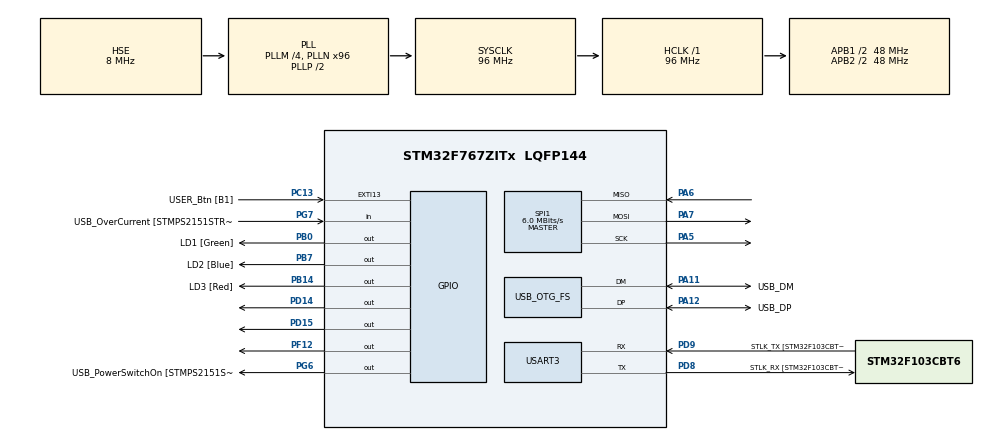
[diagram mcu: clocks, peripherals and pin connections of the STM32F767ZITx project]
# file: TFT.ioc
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Mcu.Family=STM32F7
Mcu.Name=STM32F767ZITx
Mcu.Package=LQFP144
NVIC.PriorityGroup=NVIC_PRIORITYGROUP_4
PA10.GPIO_Label=USB_ID
PA10.Signal=USB_OTG_FS_ID
PA11.GPIO_Label=USB_DM
PA11.Mode=Device_Only
PA11.Signal=USB_OTG_FS_DM
PA12.GPIO_Label=USB_DP
PA12.Mode=Device_Only
PA12.Signal=USB_OTG_FS_DP
PA13.GPIO_Label=TMS
PA13.Mode=Serial_Wire
PA13.Signal=SYS_JTMS-SWDIO
PA14.GPIO_Label=TCK
PA14.Mode=Serial_Wire
PA14.Signal=SYS_JTCK-SWCLK
PA5.Mode=Full_Duplex_Master
PA5.Signal=SPI1_SCK
PA6.Mode=Full_Duplex_Master
PA6.Signal=SPI1_MISO
PA7.Mode=Full_Duplex_Master
PA7.Signal=SPI1_MOSI
PA8.GPIO_Label=USB_SOF [TP1]
PA8.Signal=USB_OTG_FS_SOF
PA9.GPIO_Label=USB_VBUS
PA9.Signal=USB_OTG_FS_VBUS
PB0.GPIO_Label=LD1 [Green]
PB0.Signal=GPIO_Output
PB13.GPIO_Label=RMII_TXD1 [LAN8742A-CZ-TR_TXD1]
PB13.Signal=ETH_TXD1
PB14.GPIO_Label=LD3 [Red]
PB14.Signal=GPIO_Output
PB3.GPIO_Label=SWO
PB3.Signal=SYS_JTDO-SWO
PB7.GPIO_Label=LD2 [Blue]
PB7.Signal=GPIO_Output
PC13.GPIO_Label=USER_Btn [B1]
PC13.Signal=GPXTI13
PC14/OSC32_IN.Mode=LSE-External-Oscillator
PC14/OSC32_IN.Signal=RCC_OSC32_IN
PC15/OSC32_OUT.Mode=LSE-External-Oscillator
PC15/OSC32_OUT.Signal=RCC_OSC32_OUT
PD14.Signal=GPIO_Output
PD15.Signal=GPIO_Output
PD8.GPIO_Label=STLK_RX [STM32F103CBT6_PA3]
PD8.Mode=Asynchronous
PD8.Signal=USART3_TX
PD9.GPIO_Label=STLK_TX [STM32F103CBT6_PA2]
PD9.Mode=Asynchronous
PD9.Signal=USART3_RX
PF12.Signal=GPIO_Output
PG6.GPIO_Label=USB_PowerSwitchOn [STMPS2151STR_EN]
PG6.Signal=GPIO_Output
PG7.GPIO_Label=USB_OverCurrent [STMPS2151STR_FAULT]
PG7.Signal=GPIO_Input
PH0/OSC_IN.GPIO_Label=MCO [STM32F103CBT6_PA8]
PH0/OSC_IN.Mode=HSE-External-Clock-Source
PH0/OSC_IN.Signal=RCC_OSC_IN
PH1/OSC_OUT.Mode=HSE-External-Clock-Source
PH1/OSC_OUT.Signal=RCC_OSC_OUT
ProjectManager.HeapSize=0x200
ProjectManager.StackSize=0x400
ProjectManager.TargetToolchain=STM32CubeIDE
RCC.48MHZClocksFreq_Value=24000000
RCC.AHBFreq_Value=96000000
RCC.APB1CLKDivider=RCC_HCLK_DIV2
RCC.APB1Freq_Value=48000000
RCC.APB1TimFreq_Value=96000000
RCC.APB2CLKDivider=RCC_HCLK_DIV2
RCC.APB2Freq_Value=48000000
RCC.APB2TimFreq_Value=96000000
RCC.CortexFreq_Value=96000000
RCC.HCLKFreq_Value=96000000
RCC.HSE_VALUE=8000000
RCC.HSI_VALUE=16000000
RCC.PLLM=4
RCC.PLLMUL=RCC_PLL_MUL9
RCC.PLLN=96
RCC.PLLQ=4
RCC.PRESCALERUSB=RCC_USBCLKSOURCE_PLL_DIV1_5
RCC.SYSCLKFreq_VALUE=96000000
RCC.SYSCLKSource=RCC_SYSCLKSOURCE_PLLCLK
RCC.SYSCLKSourceVirtual=RCC_SYSCLKSOURCE_PLLCLK
RCC.USBFreq_Value=48000000
RCC.VCOOutputFreq_Value=192000000
SPI1.BaudRatePrescaler=SPI_BAUDRATEPRESCALER_8
SPI1.CalculateBaudRate=6.0 MBits/s
SPI1.DataSize=SPI_DATASIZE_8BIT
SPI1.Direction=SPI_DIRECTION_2LINES
SPI1.Mode=SPI_MODE_MASTER
SPI1.VirtualType=VM_MASTER
USART3.VirtualMode-Asynchronous=VM_ASYNC
USB_OTG_FS.VirtualMode=Device_Only
board=NUCLEO-F767ZI

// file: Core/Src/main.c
/* USER CODE BEGIN Header */
/**
  ******************************************************************************
  * @file           : main.c
  * @brief          : Main program body
  ******************************************************************************
  * @attention
  *
  * <h2><center>&copy; Copyright (c) 2020 STMicroelectronics.
  * All rights reserved.</center></h2>
  *
  * This software component is licensed by ST under BSD 3-Clause license,
  * the "License"; You may not use this file except in compliance with the
  * License. You may obtain a copy of the License at:
  *                        opensource.org/licenses/BSD-3-Clause
  *
  ******************************************************************************
  */
/* USER CODE END Header */
#include "main.h"

/* USER CODE BEGIN Includes */
#include <string.h>
#include <stdio.h>
#include <ili9341.h>
#include <stdarg.h>
/* USER CODE END Includes */

SPI_HandleTypeDef hspi1;

UART_HandleTypeDef huart3;

PCD_HandleTypeDef hpcd_USB_OTG_FS;

void SystemClock_Config(void);
static void MX_GPIO_Init(void);
static void MX_USART3_UART_Init(void);
static void MX_SPI1_Init(void);
static void MX_USB_OTG_FS_PCD_Init(void);

/* USER CODE BEGIN 0 */

void UART_Printf(const char* fmt, ...)
{
    char buff[256];
    va_list args;
    va_start(args, fmt);
    vsnprintf(buff, sizeof(buff), fmt, args);
    HAL_UART_Transmit(&huart3, (uint8_t*)buff, strlen(buff),
                      HAL_MAX_DELAY);
    va_end(args);
}

/* USER CODE END 0 */

int main(void)
{

  /* MCU Configuration--------------------------------------------------------*/

  /* Reset of all peripherals, Initializes the Flash interface and the Systick. */
  HAL_Init();

  /* Configure the system clock */
  SystemClock_Config();

  /* Initialize all configured peripherals */
  MX_GPIO_Init();
  MX_USART3_UART_Init();
  MX_SPI1_Init();
  MX_USB_OTG_FS_PCD_Init();

  /* Infinite loop */
  /* USER CODE BEGIN WHILE */

  ST7789_Init();

  //ILI9341_Unselect();
  //ILI9341_Init();

  /*
  UART_Printf("HAL_SPI_DeInit/Init\r\n");

  if(HAL_SPI_DeInit(&hspi1) != HAL_OK) {
      UART_Printf("HAL_SPI_DeInit failed!\r\n");
      return 0;
  }

  hspi1.Init.BaudRatePrescaler = SPI_BAUDRATEPRESCALER_4;

  if(HAL_SPI_Init(&hspi1) != HAL_OK) {
      UART_Printf("HAL_SPI_Init failed!\r\n");
      return 0;
  }
*/

  bool inv = true;
  ILI9341_InvertColors(inv);

  ILI9341_FillRectangle(0, 0, ILI9341_HEIGHT, ILI9341_WIDTH, ILI9341_GREEN );
//  ILI9341_WriteString(0, 0, "Freddy", Font_7x10, ILI9341_RED, ILI9341_BLACK);
//  ILI9341_WriteString(0, 3*10, "Fred2", Font_11x18, ILI9341_GREEN, ILI9341_BLACK);

  for(int x = 0; x < ILI9341_HEIGHT; x++)
  {
      ILI9341_DrawPixel(x, 0, ILI9341_RED);
      ILI9341_DrawPixel(x, ILI9341_WIDTH-1, ILI9341_RED);
  }

  ILI9341_WriteString(0, 3*10+3*18, "Ian Langley vB", Font_16x26, ILI9341_BLUE, ILI9341_BLACK);

  while (1)
  {
	  inv = !inv;
	  ILI9341_InvertColors(inv);
	  HAL_Delay(500);

    /* USER CODE END WHILE */

  }
}

void SystemClock_Config(void)
{
  RCC_OscInitTypeDef RCC_OscInitStruct = {0};
  RCC_ClkInitTypeDef RCC_ClkInitStruct = {0};
  RCC_PeriphCLKInitTypeDef PeriphClkInitStruct = {0};

  /** Configure LSE Drive Capability
  */
  HAL_PWR_EnableBkUpAccess();
  /** Configure the main internal regulator output voltage
  */
  __HAL_RCC_PWR_CLK_ENABLE();
  __HAL_PWR_VOLTAGESCALING_CONFIG(PWR_REGULATOR_VOLTAGE_SCALE3);
  /** Initializes the RCC Oscillators according to the specified parameters
  * in the RCC_OscInitTypeDef structure.
  */
  RCC_OscInitStruct.OscillatorType = RCC_OSCILLATORTYPE_HSE;
  RCC_OscInitStruct.HSEState = RCC_HSE_BYPASS;
  RCC_OscInitStruct.PLL.PLLState = RCC_PLL_ON;
  RCC_OscInitStruct.PLL.PLLSource = RCC_PLLSOURCE_HSE;
  RCC_OscInitStruct.PLL.PLLM = 4;
  RCC_OscInitStruct.PLL.PLLN = 96;
  RCC_OscInitStruct.PLL.PLLP = RCC_PLLP_DIV2;
  RCC_OscInitStruct.PLL.PLLQ = 4;
  if (HAL_RCC_OscConfig(&RCC_OscInitStruct) != HAL_OK)
  {
    Error_Handler();
  }
  /** Activate the Over-Drive mode
  */
  if (HAL_PWREx_EnableOverDrive() != HAL_OK)
  {
    Error_Handler();
  }
  /** Initializes the CPU, AHB and APB buses clocks
  */
  RCC_ClkInitStruct.ClockType = RCC_CLOCKTYPE_HCLK|RCC_CLOCKTYPE_SYSCLK
                              |RCC_CLOCKTYPE_PCLK1|RCC_CLOCKTYPE_PCLK2;
  RCC_ClkInitStruct.SYSCLKSource = RCC_SYSCLKSOURCE_PLLCLK;
  RCC_ClkInitStruct.AHBCLKDivider = RCC_SYSCLK_DIV1;
  RCC_ClkInitStruct.APB1CLKDivider = RCC_HCLK_DIV2;
  RCC_ClkInitStruct.APB2CLKDivider = RCC_HCLK_DIV2;

  if (HAL_RCC_ClockConfig(&RCC_ClkInitStruct, FLASH_LATENCY_3) != HAL_OK)
  {
    Error_Handler();
  }
  PeriphClkInitStruct.PeriphClockSelection = RCC_PERIPHCLK_USART3|RCC_PERIPHCLK_CLK48;
  PeriphClkInitStruct.Usart3ClockSelection = RCC_USART3CLKSOURCE_PCLK1;
  PeriphClkInitStruct.Clk48ClockSelection = RCC_CLK48SOURCE_PLL;
  if (HAL_RCCEx_PeriphCLKConfig(&PeriphClkInitStruct) != HAL_OK)
  {
    Error_Handler();
  }
}

static void MX_SPI1_Init(void)
{

  /* SPI1 parameter configuration*/
  hspi1.Instance = SPI1;
  hspi1.Init.Mode = SPI_MODE_MASTER;
  hspi1.Init.Direction = SPI_DIRECTION_2LINES;
  hspi1.Init.DataSize = SPI_DATASIZE_8BIT;
  hspi1.Init.CLKPolarity = SPI_POLARITY_LOW;
  hspi1.Init.CLKPhase = SPI_PHASE_1EDGE;
  hspi1.Init.NSS = SPI_NSS_SOFT;
  hspi1.Init.BaudRatePrescaler = SPI_BAUDRATEPRESCALER_8;
  hspi1.Init.FirstBit = SPI_FIRSTBIT_MSB;
  hspi1.Init.TIMode = SPI_TIMODE_DISABLE;
  hspi1.Init.CRCCalculation = SPI_CRCCALCULATION_DISABLE;
  hspi1.Init.CRCPolynomial = 7;
  hspi1.Init.CRCLength = SPI_CRC_LENGTH_DATASIZE;
  hspi1.Init.NSSPMode = SPI_NSS_PULSE_ENABLE;
  if (HAL_SPI_Init(&hspi1) != HAL_OK)
  {
    Error_Handler();
  }

}

static void MX_USART3_UART_Init(void)
{

  huart3.Instance = USART3;
  huart3.Init.BaudRate = 115200;
  huart3.Init.WordLength = UART_WORDLENGTH_8B;
  huart3.Init.StopBits = UART_STOPBITS_1;
  huart3.Init.Parity = UART_PARITY_NONE;
  huart3.Init.Mode = UART_MODE_TX_RX;
  huart3.Init.HwFlowCtl = UART_HWCONTROL_NONE;
  huart3.Init.OverSampling = UART_OVERSAMPLING_16;
  huart3.Init.OneBitSampling = UART_ONE_BIT_SAMPLE_DISABLE;
  huart3.AdvancedInit.AdvFeatureInit = UART_ADVFEATURE_NO_INIT;
  if (HAL_UART_Init(&huart3) != HAL_OK)
  {
    Error_Handler();
  }

}

static void MX_USB_OTG_FS_PCD_Init(void)
{

  hpcd_USB_OTG_FS.Instance = USB_OTG_FS;
  hpcd_USB_OTG_FS.Init.dev_endpoints = 6;
  hpcd_USB_OTG_FS.Init.speed = PCD_SPEED_FULL;
  hpcd_USB_OTG_FS.Init.dma_enable = DISABLE;
  hpcd_USB_OTG_FS.Init.phy_itface = PCD_PHY_EMBEDDED;
  hpcd_USB_OTG_FS.Init.Sof_enable = DISABLE;
  hpcd_USB_OTG_FS.Init.low_power_enable = DISABLE;
  hpcd_USB_OTG_FS.Init.lpm_enable = DISABLE;
  hpcd_USB_OTG_FS.Init.vbus_sensing_enable = DISABLE;
  hpcd_USB_OTG_FS.Init.use_dedicated_ep1 = DISABLE;
  if (HAL_PCD_Init(&hpcd_USB_OTG_FS) != HAL_OK)
  {
    Error_Handler();
  }

}

static void MX_GPIO_Init(void)
{
  GPIO_InitTypeDef GPIO_InitStruct = {0};

  /* GPIO Ports Clock Enable */
  __HAL_RCC_GPIOC_CLK_ENABLE();
  __HAL_RCC_GPIOH_CLK_ENABLE();
  __HAL_RCC_GPIOA_CLK_ENABLE();
  __HAL_RCC_GPIOB_CLK_ENABLE();
  __HAL_RCC_GPIOF_CLK_ENABLE();
  __HAL_RCC_GPIOD_CLK_ENABLE();
  __HAL_RCC_GPIOG_CLK_ENABLE();

  /*Configure GPIO pin Output Level */
  HAL_GPIO_WritePin(GPIOB, LD1_Pin|LD3_Pin|LD2_Pin, GPIO_PIN_RESET);

  /*Configure GPIO pin Output Level */
  HAL_GPIO_WritePin(GPIOF, GPIO_PIN_12, GPIO_PIN_RESET);

  /*Configure GPIO pin Output Level */
  HAL_GPIO_WritePin(GPIOD, GPIO_PIN_14|GPIO_PIN_15, GPIO_PIN_RESET);

  /*Configure GPIO pin Output Level */
  HAL_GPIO_WritePin(USB_PowerSwitchOn_GPIO_Port, USB_PowerSwitchOn_Pin, GPIO_PIN_RESET);

  /*Configure GPIO pin : USER_Btn_Pin */
  GPIO_InitStruct.Pin = USER_Btn_Pin;
  GPIO_InitStruct.Mode = GPIO_MODE_IT_RISING;
  GPIO_InitStruct.Pull = GPIO_NOPULL;
  HAL_GPIO_Init(USER_Btn_GPIO_Port, &GPIO_InitStruct);

  /*Configure GPIO pins : LD1_Pin LD3_Pin LD2_Pin */
  GPIO_InitStruct.Pin = LD1_Pin|LD3_Pin|LD2_Pin;
  GPIO_InitStruct.Mode = GPIO_MODE_OUTPUT_PP;
  GPIO_InitStruct.Pull = GPIO_NOPULL;
  GPIO_InitStruct.Speed = GPIO_SPEED_FREQ_LOW;
  HAL_GPIO_Init(GPIOB, &GPIO_InitStruct);

  /*Configure GPIO pin : PF12 */
  GPIO_InitStruct.Pin = GPIO_PIN_12;
  GPIO_InitStruct.Mode = GPIO_MODE_OUTPUT_PP;
  GPIO_InitStruct.Pull = GPIO_NOPULL;
  GPIO_InitStruct.Speed = GPIO_SPEED_FREQ_LOW;
  HAL_GPIO_Init(GPIOF, &GPIO_InitStruct);

  /*Configure GPIO pin : RMII_TXD1_Pin */
  GPIO_InitStruct.Pin = RMII_TXD1_Pin;
  GPIO_InitStruct.Mode = GPIO_MODE_AF_PP;
  GPIO_InitStruct.Pull = GPIO_NOPULL;
  GPIO_InitStruct.Speed = GPIO_SPEED_FREQ_VERY_HIGH;
  GPIO_InitStruct.Alternate = GPIO_AF11_ETH;
  HAL_GPIO_Init(RMII_TXD1_GPIO_Port, &GPIO_InitStruct);

  /*Configure GPIO pins : PD14 PD15 */
  GPIO_InitStruct.Pin = GPIO_PIN_14|GPIO_PIN_15;
  GPIO_InitStruct.Mode = GPIO_MODE_OUTPUT_PP;
  GPIO_InitStruct.Pull = GPIO_NOPULL;
  GPIO_InitStruct.Speed = GPIO_SPEED_FREQ_LOW;
  HAL_GPIO_Init(GPIOD, &GPIO_InitStruct);

  /*Configure GPIO pin : USB_PowerSwitchOn_Pin */
  GPIO_InitStruct.Pin = USB_PowerSwitchOn_Pin;
  GPIO_InitStruct.Mode = GPIO_MODE_OUTPUT_PP;
  GPIO_InitStruct.Pull = GPIO_NOPULL;
  GPIO_InitStruct.Speed = GPIO_SPEED_FREQ_LOW;
  HAL_GPIO_Init(USB_PowerSwitchOn_GPIO_Port, &GPIO_InitStruct);

  /*Configure GPIO pin : USB_OverCurrent_Pin */
  GPIO_InitStruct.Pin = USB_OverCurrent_Pin;
  GPIO_InitStruct.Mode = GPIO_MODE_INPUT;
  GPIO_InitStruct.Pull = GPIO_NOPULL;
  HAL_GPIO_Init(USB_OverCurrent_GPIO_Port, &GPIO_InitStruct);

}

void Error_Handler(void)
{
}

/************************ (C) COPYRIGHT STMicroelectronics *****END OF FILE****/
